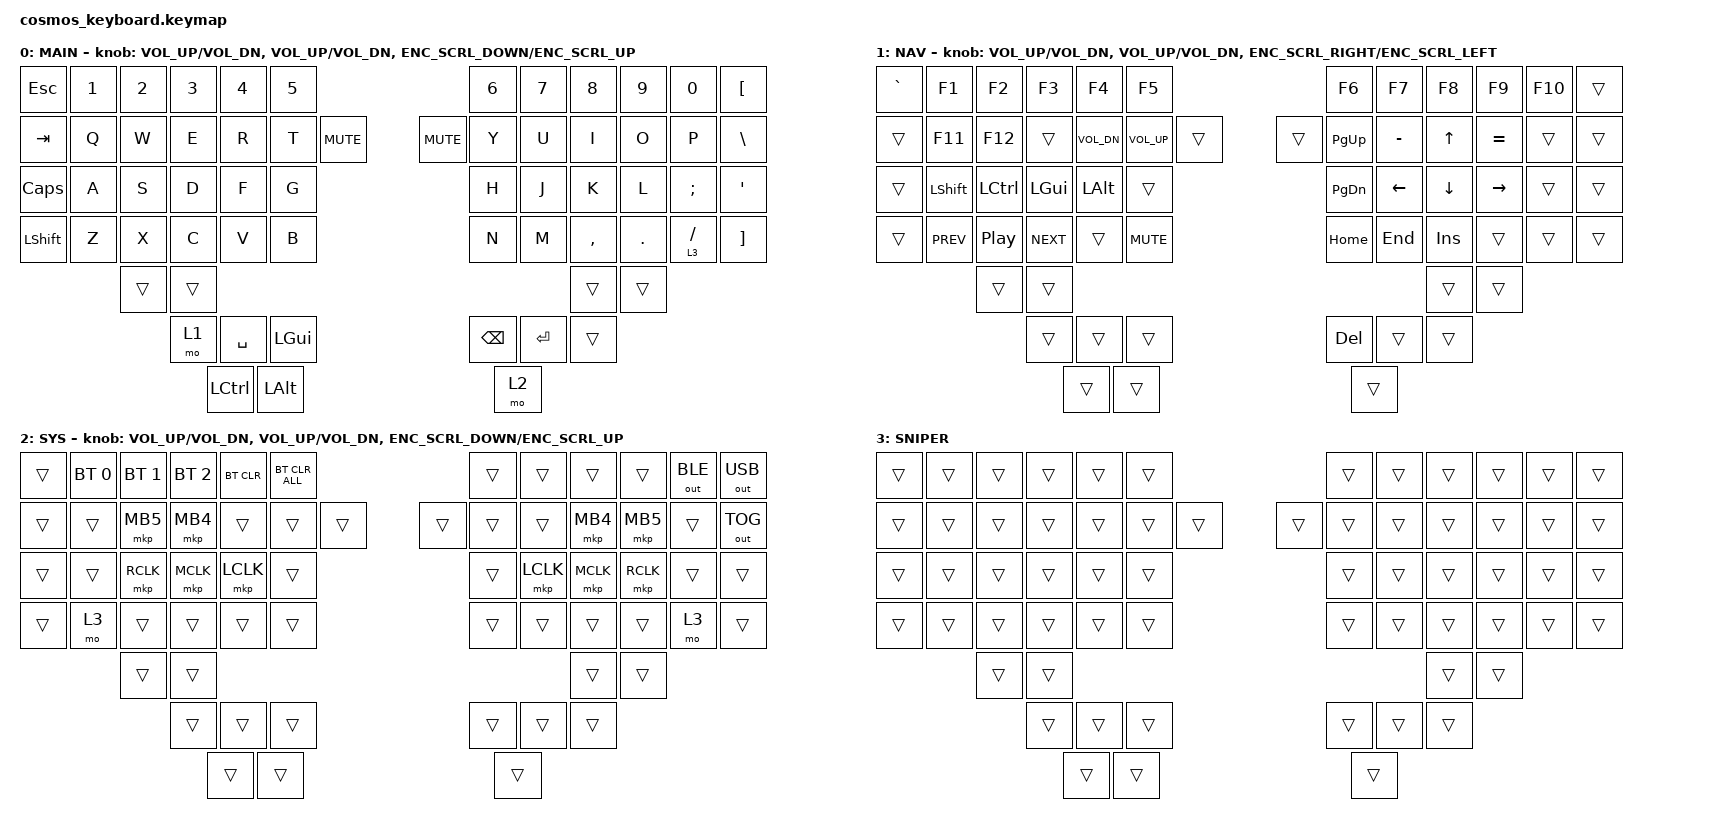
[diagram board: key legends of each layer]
#include <input/processors.dtsi>
#include <zephyr/dt-bindings/input/input-event-codes.h>
#include <dt-bindings/zmk/input_transform.h>
#include <behaviors.dtsi>
#include <dt-bindings/zmk/bt.h>
#include <dt-bindings/zmk/keys.h>
#include <dt-bindings/zmk/outputs.h>
#include <dt-bindings/zmk/pointing.h>

// Must match the node order under keymap {} - inserting a layer renumbers
// everything after it.

#define BASE        0
#define NAV         1
#define SYS         2
#define SNIPER      3  // raised from MOUSE_HOLD; slows the ball via the listener override

// Wheel clicks per encoder detent: 63 per click, since &msc emits
// speed * trigger-period-ms / 1000 and its period is 16ms. MOVE_Y is the
// vertical wheel, MOVE_X the horizontal one used on NAV. Step in units of 63
// to retune - 10 clicks vertical, 6 horizontal.

#define ENC_SCRL_UP   MOVE_Y(630)
#define ENC_SCRL_DOWN MOVE_Y(-630)
#define ENC_SCRL_RIGHT MOVE_X(630)
#define ENC_SCRL_LEFT  MOVE_X(-630)

&lt { tapping-term-ms = <250>; };

/ {
    behaviors {
        // Mouse scroll on an encoder. tap-ms must exceed &msc's 16ms
        // trigger-period-ms, or the release cancels &msc's tick work before it
        // fires and nothing scrolls at all.

        inc_dec_msc: inc_dec_msc {
            compatible = "zmk,behavior-sensor-rotate-var";
            #sensor-binding-cells = <2>;
            bindings = <&msc>, <&msc>;

            tap-ms = <20>;
        };
    };

    combos { compatible = "zmk,combos"; };

    keymap {
        compatible = "zmk,keymap";

        main {
            display-name = "MAIN";
            bindings = <
&kp ESC         &kp N1  &kp N2  &kp N3     &kp N4        &kp N5                              &kp N6         &kp N7     &kp N8     &kp N9   &kp N0       &kp LEFT_BRACKET
&kp TAB         &kp Q   &kp W   &kp E      &kp R         &kp T     &kp K_MUTE    &kp K_MUTE  &kp Y          &kp U      &kp I      &kp O    &kp P        &kp BSLH
&kp CAPS        &kp A   &kp S   &kp D      &kp F         &kp G                               &kp H          &kp J      &kp K      &kp L    &kp SEMI     &kp APOS
&kp LEFT_SHIFT  &kp Z   &kp X   &kp C      &kp V         &kp B                               &kp N          &kp M      &kp COMMA  &kp DOT  &lt 3 SLASH  &kp RIGHT_BRACKET
                        &trans  &trans                                                                                 &trans     &trans
                                &mo 1      &kp SPACE     &kp LGUI                            &kp BACKSPACE  &kp ENTER  &trans
                                &kp LCTRL  &kp LEFT_ALT                                      &mo 2
            >;

            sensor-bindings =
                <&inc_dec_kp C_VOL_UP C_VOL_DN>,
                <&inc_dec_kp C_VOL_UP C_VOL_DN>,
                <&inc_dec_msc ENC_SCRL_DOWN ENC_SCRL_UP>;
        };

        nav {
            display-name = "NAV";
            bindings = <
&kp GRAVE  &kp F1      &kp F2     &kp F3      &kp F4        &kp F5                          &kp F6     &kp F7     &kp F8    &kp F9     &kp F10  &trans
&trans     &kp F11     &kp F12    &trans      &kp C_VOL_DN  &kp C_VOL_UP  &trans    &trans  &kp PG_UP  &kp MINUS  &kp UP    &kp EQUAL  &trans   &trans
&trans     &kp LSHFT   &kp LCTRL  &kp LGUI    &kp LALT      &trans                          &kp PG_DN  &kp LEFT   &kp DOWN  &kp RIGHT  &trans   &trans
&trans     &kp C_PREV  &kp C_PP   &kp C_NEXT  &trans        &kp K_MUTE                      &kp HOME   &kp END    &kp INS   &trans     &trans   &trans
                       &trans     &trans                                                                          &trans    &trans
                                  &trans      &trans        &trans                          &kp DEL    &trans     &trans
                                  &trans      &trans                                        &trans
            >;

            // Scroll encoder goes horizontal here, replacing MAIN's vertical
            // scroll rather than stacking with it.

            sensor-bindings =
                <&inc_dec_kp C_VOL_UP C_VOL_DN>,
                <&inc_dec_kp C_VOL_UP C_VOL_DN>,
                <&inc_dec_msc ENC_SCRL_RIGHT ENC_SCRL_LEFT>;
        };

        sys {
            display-name = "SYS";
            bindings = <
&trans  &bt BT_SEL 0  &bt BT_SEL 1  &bt BT_SEL 2  &bt BT_CLR  &bt BT_CLR_ALL                    &trans  &trans     &trans     &trans     &out OUT_BLE  &out OUT_USB
&trans  &trans        &mkp MB5      &mkp MB4      &trans      &trans          &trans    &trans  &trans  &trans     &mkp MB4   &mkp MB5   &trans        &out OUT_TOG
&trans  &trans        &mkp RCLK     &mkp MCLK     &mkp LCLK   &trans                            &trans  &mkp LCLK  &mkp MCLK  &mkp RCLK  &trans        &trans
&trans  &mo 3         &trans        &trans        &trans      &trans                            &trans  &trans     &trans     &trans     &mo 3         &trans
                      &trans        &trans                                                                         &trans     &trans
                                    &trans        &trans      &trans                            &trans  &trans     &trans
                                    &trans        &trans                                        &trans
            >;

            sensor-bindings =
                <&inc_dec_kp C_VOL_UP C_VOL_DN>,
                <&inc_dec_kp C_VOL_UP C_VOL_DN>,
                <&inc_dec_msc ENC_SCRL_DOWN ENC_SCRL_UP>;
        };

        // Exists only to be named by the &input_listener_left0 override below.
        // All &trans so the mouse buttons under it stay live; no
        // sensor-bindings, so the encoders fall through to MOUSE.

        sniper {
            display-name = "SNIPER";
            bindings = <
&trans  &trans  &trans  &trans  &trans  &trans                    &trans  &trans  &trans  &trans  &trans  &trans
&trans  &trans  &trans  &trans  &trans  &trans  &trans    &trans  &trans  &trans  &trans  &trans  &trans  &trans
&trans  &trans  &trans  &trans  &trans  &trans                    &trans  &trans  &trans  &trans  &trans  &trans
&trans  &trans  &trans  &trans  &trans  &trans                    &trans  &trans  &trans  &trans  &trans  &trans
                &trans  &trans                                                    &trans  &trans
                        &trans  &trans  &trans                    &trans  &trans  &trans
                        &trans  &trans                            &trans
            >;
        };
    };
};

// The sensor is wired to the left half; this listener runs on the right.

&input_listener_left0 {
    // Orientation is corrected here rather than with the driver's invert-x, to
    // keep it out of the RES_STEP write that also carries the CPI.
    //
    // Sensor axes already line up with the ball: raw X carries left/right, raw Y
    // near/far. No XY_SWAP. Verified by rolling the ball and reading raw values,
    // which give ball-right -> Xs<0 and ball-away -> Ys<0, so X_INVERT alone
    // lands ball-right on cursor-right and ball-away on cursor-up.
    //
    // Do not re-derive this from a reading taken while the axes are misbehaving
    // - that fault presents as a swap and once sent us to a 90 degree rotation
    // that was wrong in normal use. Verify orientation only from a good state.
    //
    // The processor rewrites the event code before testing the invert flags, so
    // under XY_SWAP an invert names the DESTINATION axis. Xs/Ys raw:
    //   none      -> X=+Xs, Y=+Ys      XY_SWAP           -> X=+Ys, Y=+Xs
    //   X_INVERT  -> X=-Xs, Y=+Ys      XY_SWAP|X_INVERT  -> X=-Ys, Y=+Xs
    //   Y_INVERT  -> X=+Xs, Y=-Ys      XY_SWAP|Y_INVERT  -> X=+Ys, Y=-Xs
    // HID Y is positive-down, so "clockwise" is not a usable spec here.
    //
    // No axis scaler: the target is 1:1, so a ball roll at 45 degrees sends the
    // cursor at 45 degrees. The &zip_y_scaler 7 10 that used to sit here aimed
    // at ~2:1 for a wide screen, which costs that property.
    //
    // Unverified: a previously measured raw Ys/Xs ~0.7 would leave ~1.43:1
    // rather than 1:1. That number predates the RES_STEP fix and may be an
    // artifact of measuring by hand. To settle it, roll the ball one full
    // revolution per axis on the trackball debug build and compare summed raw
    // counts - one revolution is the same surface distance either way.
    // If the gap is real, trim X down with &zip_x_scaler 7 10 and raise cpi to
    // compensate. Do NOT scale an axis up: 1c7fac5 found that amplifies
    // quantization into a 1,2,1,2 px wobble on slow movement.

    input-processors = <&zip_xy_transform INPUT_TRANSFORM_X_INVERT>;

    // Sniper mode. Not done by dropping cpi: pmw3610_cpi_reassert.c writes it
    // back 300ms after motion stops, and the sensor is on the peripheral with no
    // split channel to carry a sensor attribute from this half.
    //
    // process-next is required - without it the listener returns after this
    // override and the base X_INVERT is skipped, so the cursor goes left while
    // the key is held. The scaler then runs before the transform, which is safe
    // only because the transform is a pure negation with no XY_SWAP.
    //
    // Retune with the divisor alone, max 16. Never a multiplier: 1c7fac5 found
    // upscaling turns quantization into a 1,2,1,2 px wobble. track-remainders on
    // the stock scaler keeps sub-count movement from being dropped.

    sniper {
        layers = <SNIPER>;
        process-next;
        input-processors = <&zip_xy_scaler 1 2>;
    };

    // Trackball scrolls while NAV is held. Order is load-bearing: xy-scaler
    // matches X/Y only, scroll-scaler matches wheel only, so the mapper splits
    // the list in two. Listed after sniper so that holding both gives a
    // half-speed scroll rather than shadowing it.
    //
    // No process-next, unlike sniper: the base list must NOT run here. Cursor
    // X_INVERT is deliberately absent - the mapper does not change sign, so raw
    // X straight to HWHEEL is the direction that reads right when scrolling.
    //
    // Divisor split across two stages: the documented ceiling is 16 and cpi 2200
    // needs ~64 for 34 clicks/inch. Reusing &zip_xy_scaler is safe, remainder
    // state is per config entry. Retune with either stage.

    scroll {
        layers = <NAV>;
        input-processors =
            <&zip_xy_scaler 1 8>,
            <&zip_xy_to_scroll_mapper>,
            <&zip_scroll_scaler 1 8>;
    };
};
